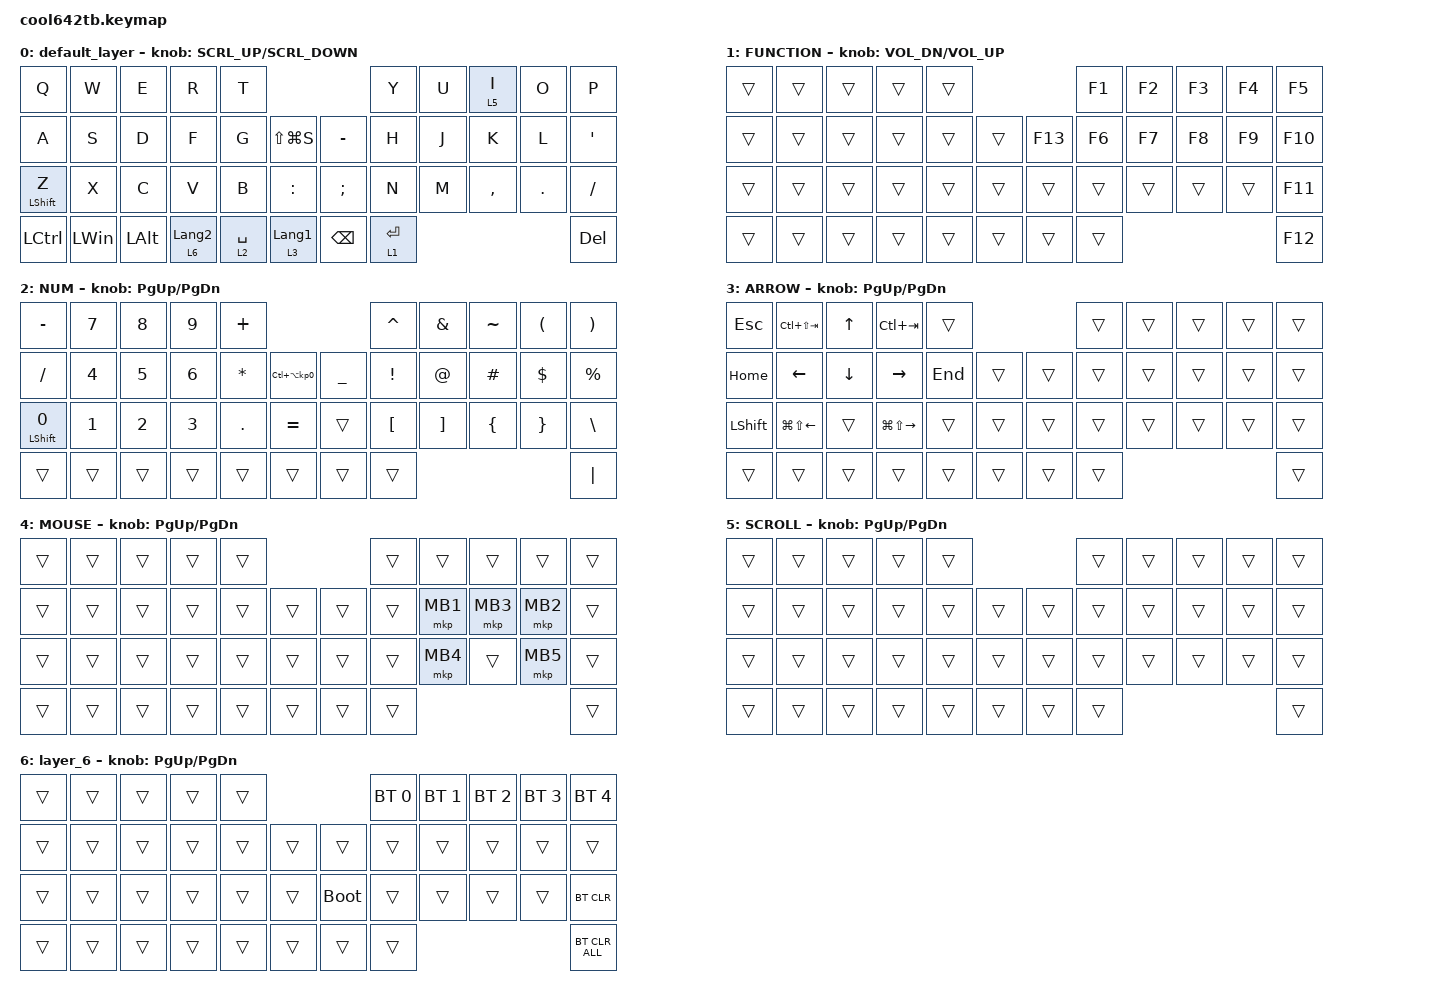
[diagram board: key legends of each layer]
#include <behaviors.dtsi>
#include <dt-bindings/zmk/bt.h>
#include <dt-bindings/zmk/keys.h>
#include <dt-bindings/zmk/pointing.h>

#define ZMK_MOUSE_DEFAULT_SCRL_VAL 100
#define ZMK_POINTING_DEFAULT_SCRL_VAL 120
#define MOUSE 4
#define SCROLL 5
#define NUM 6

&mt {
    flavor = "balanced";
    quick-tap-ms = <0>;
};

/ {
    combos {
        compatible = "zmk,combos";

        comb1 {
            bindings = <&kp TAB>;
            key-positions = <11 10>;
        };

        comb2 {
            bindings = <&kp LS(ESCAPE)>;
            key-positions = <0 1>;
        };

        comb3 {
            bindings = <&kp CAPSLOCK>;
            key-positions = <22 23>;
        };

        comb4 {
            bindings = <&kp BACKSPACE>;
            key-positions = <9 8>;
        };

        comb5 {
            bindings = <&bt BT_CLR_ALL>;
            key-positions = <9 8>;
            timeout-ms = <0>;
            layers = <2>;
        };

        MS_BTN1_ {
            bindings = <&mkp MB1>;
            key-positions = <38 39>;
        };

        MS_BTN2_ {
            bindings = <&mkp MB2>;
            key-positions = <38 37>;
        };

        CB_LANG1 {
            bindings = <&kp LANGUAGE_1>;
            key-positions = <18 19>;
        };

        CB_LANG2 {
            bindings = <&kp LANGUAGE_2>;
            key-positions = <13 12>;
        };
    };

    macros {
        to_layer_0: to_layer_0 {
            compatible = "zmk,behavior-macro-one-param";
            #binding-cells = <1>;
            bindings = <&to 0 &macro_param_1to1 &kp MACRO_PLACEHOLDER>;
            label = "TO_LAYER_0";
        };
    };

    behaviors {
        lt_to_layer_0: lt_to_layer_0 {
            compatible = "zmk,behavior-hold-tap";
            label = "LAYER_TAP_TO_0";
            bindings = <&mo>, <&to_layer_0>;

            #binding-cells = <2>;
            tapping-term-ms = <200>;
        };

        scroll_up_down: behavior_sensor_rotate_mouse_wheel_up_down {
            compatible = "zmk,behavior-sensor-rotate";
            #sensor-binding-cells = <0>;
            bindings = <&msc SCRL_UP>, <&msc SCRL_DOWN>;

            tap-ms = <20>;
        };
    };

    // エンコーダー：キー

    rot_kp: sensor_rotate_kp {
        compatible = "zmk,behavior-sensor-rotate-var";
        #sensor-binding-cells = <2>;
        bindings = <&kp>, <&kp>;
    };

    // エンコーダー：マウススクロール

    rot_msc: sensor_rotate_msc {
        compatible = "zmk,behavior-sensor-rotate-var";
        #sensor-binding-cells = <2>;
        tap-ms = <20>;
        bindings = <&msc>, <&msc>;
    };

    // エンコーダー：マウススクロール(MOVE_Y)

    scroll_move_y: sensor_rotate_msc_for_move_y {
        compatible = "zmk,behavior-sensor-rotate";
        #sensor-binding-cells = <0>;
        bindings = <&msc MOVE_Y(20)>, <&msc MOVE_Y(-20)>;

        // tap-ms下限メモ Yの値で可変: Y(15) <81>, Y(20) <65>, Y(25) <49>

        tap-ms = <65>;
    };

    // エンコーダー：マウススクロール(MOVE_X)

    scroll_move_x: sensor_rotate_msc_for_move_x {
        compatible = "zmk,behavior-sensor-rotate";
        #sensor-binding-cells = <0>;
        bindings = <&msc MOVE_X(20)>, <&msc MOVE_X(-20)>;

        // tap-ms下限メモ Xの値で可変: X(15) <81>, X(20) <65>, X(25) <49>

        tap-ms = <65>;
    };

    keymap {
        compatible = "zmk,keymap";

        default_layer {
            bindings = <
&kp Q             &kp W         &kp E         &kp R                        &kp T                                                    &kp Y        &kp U  &lt 5 I    &kp O    &kp P
&kp A             &kp S         &kp D         &kp F                        &kp G        &kp LS(LG(S))                &kp MINUS      &kp H        &kp J  &kp K      &kp L    &kp SQT
&mt LEFT_SHIFT Z  &kp X         &kp C         &kp V                        &kp B        &kp COLON                    &kp SEMICOLON  &kp N        &kp M  &kp COMMA  &kp DOT  &kp SLASH
&kp LCTRL         &kp LEFT_WIN  &kp LEFT_ALT  &lt_to_layer_0 6 LANGUAGE_2  &lt 2 SPACE  &lt_to_layer_0 3 LANGUAGE_1  &kp BACKSPACE  &lt 1 ENTER                             &kp DEL
            >;

            sensor-bindings = <&rot_msc SCRL_UP SCRL_DOWN>;
        };

        FUNCTION {
            bindings = <
&trans  &trans  &trans  &trans  &trans                   &kp F1  &kp F2  &kp F3  &kp F4  &kp F5
&trans  &trans  &trans  &trans  &trans  &trans  &kp F13  &kp F6  &kp F7  &kp F8  &kp F9  &kp F10
&trans  &trans  &trans  &trans  &trans  &trans  &trans   &trans  &trans  &trans  &trans  &kp F11
&trans  &trans  &trans  &trans  &trans  &trans  &trans   &trans                          &kp F12
            >;

            sensor-bindings = <&inc_dec_kp C_VOL_DN C_VOL_UP>;
        };

        NUM {
            bindings = <
&kp MINUS                &kp NUMBER_7  &kp NUMBER_8  &kp NUMBER_9  &kp PLUS                                               &kp CARET         &kp AMPERSAND      &kp TILDE       &kp LEFT_PARENTHESIS  &kp RIGHT_PARENTHESIS
&kp SLASH                &kp NUMBER_4  &kp NUMBER_5  &kp NUMBER_6  &kp ASTERISK  &kp LC(LA(KP_NUMBER_0))  &kp UNDERSCORE  &kp EXCLAMATION   &kp AT_SIGN        &kp HASH        &kp DOLLAR            &kp PERCENT
&mt LEFT_SHIFT NUMBER_0  &kp NUMBER_1  &kp NUMBER_2  &kp NUMBER_3  &kp PERIOD    &kp EQUAL                &trans          &kp LEFT_BRACKET  &kp RIGHT_BRACKET  &kp LEFT_BRACE  &kp RIGHT_BRACE       &kp BACKSLASH
&trans                   &trans        &trans        &trans        &trans        &trans                   &trans          &trans                                                                     &kp PIPE
            >;

            sensor-bindings = <&inc_dec_kp PG_UP PAGE_DOWN>;
        };

        ARROW {
            bindings = <
&kp ESCAPE      &kp LC(LS(TAB))         &kp UP_ARROW    &kp LC(TAB)              &trans                   &trans  &trans  &trans  &trans  &trans
&kp HOME        &kp LEFT_ARROW          &kp DOWN_ARROW  &kp RIGHT_ARROW          &kp END  &trans  &trans  &trans  &trans  &trans  &trans  &trans
&kp LEFT_SHIFT  &kp LG(LS(LEFT_ARROW))  &trans          &kp LG(LS(RIGHT_ARROW))  &trans   &trans  &trans  &trans  &trans  &trans  &trans  &trans
&trans          &trans                  &trans          &trans                   &trans   &trans  &trans  &trans                          &trans
            >;

            sensor-bindings = <&inc_dec_kp PG_UP PAGE_DOWN>;
        };

        MOUSE {
            bindings = <
&trans  &trans  &trans  &trans  &trans                  &trans  &trans    &trans    &trans    &trans
&trans  &trans  &trans  &trans  &trans  &trans  &trans  &trans  &mkp MB1  &mkp MB3  &mkp MB2  &trans
&trans  &trans  &trans  &trans  &trans  &trans  &trans  &trans  &mkp MB4  &trans    &mkp MB5  &trans
&trans  &trans  &trans  &trans  &trans  &trans  &trans  &trans                                &trans
            >;

            sensor-bindings = <&inc_dec_kp PG_UP PAGE_DOWN>;
        };

        SCROLL {
            bindings = <
&trans  &trans  &trans  &trans  &trans                  &trans  &trans  &trans  &trans  &trans
&trans  &trans  &trans  &trans  &trans  &trans  &trans  &trans  &trans  &trans  &trans  &trans
&trans  &trans  &trans  &trans  &trans  &trans  &trans  &trans  &trans  &trans  &trans  &trans
&trans  &trans  &trans  &trans  &trans  &trans  &trans  &trans                          &trans
            >;

            sensor-bindings = <&inc_dec_kp PG_UP PAGE_DOWN>;
        };

        layer_6 {
            bindings = <
&trans  &trans  &trans  &trans  &trans                       &bt BT_SEL 0  &bt BT_SEL 1  &bt BT_SEL 2  &bt BT_SEL 3  &bt BT_SEL 4
&trans  &trans  &trans  &trans  &trans  &trans  &trans       &trans        &trans        &trans        &trans        &trans
&trans  &trans  &trans  &trans  &trans  &trans  &bootloader  &trans        &trans        &trans        &trans        &bt BT_CLR
&trans  &trans  &trans  &trans  &trans  &trans  &trans       &trans                                                  &bt BT_CLR_ALL
            >;

            sensor-bindings = <&inc_dec_kp PG_UP PAGE_DOWN>;
        };
    };
};
